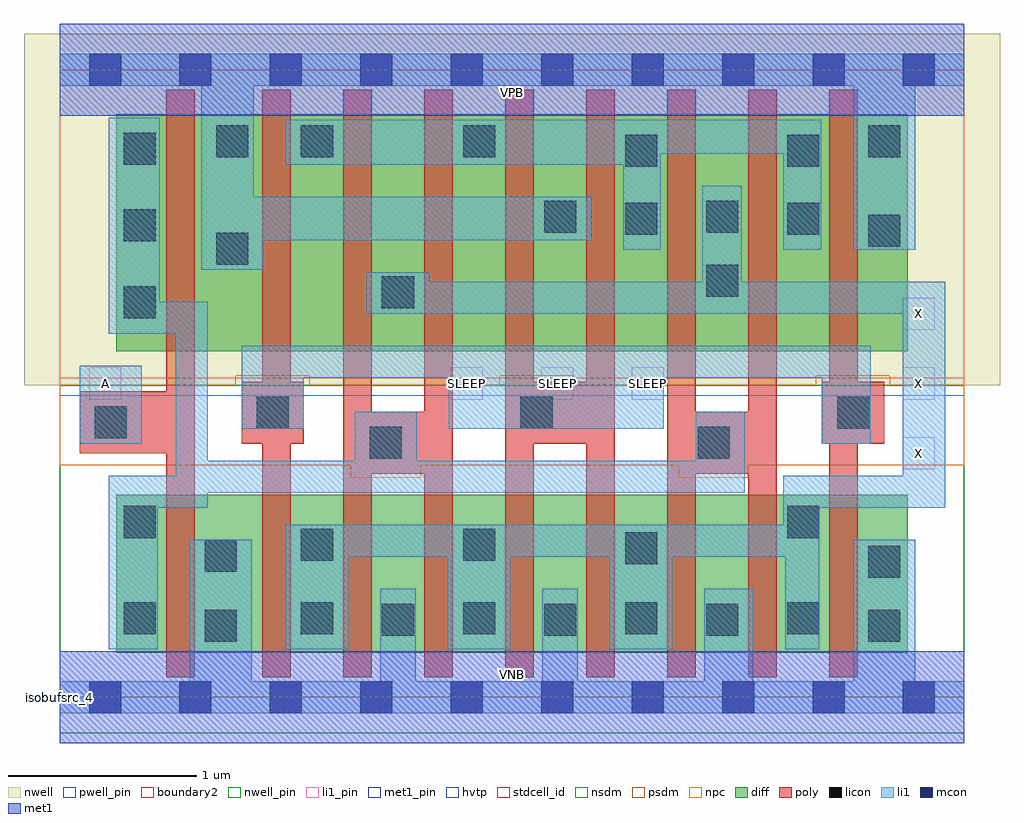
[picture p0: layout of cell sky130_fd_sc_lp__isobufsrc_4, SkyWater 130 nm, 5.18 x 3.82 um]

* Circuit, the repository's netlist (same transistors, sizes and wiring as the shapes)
* Copyright 2020 The SkyWater PDK Authors
*
* Licensed under the Apache License, Version 2.0 (the "License");
* you may not use this file except in compliance with the License.
* You may obtain a copy of the License at
*
*     https://www.apache.org/licenses/LICENSE-2.0
*
* Unless required by applicable law or agreed to in writing, software
* distributed under the License is distributed on an "AS IS" BASIS,
* WITHOUT WARRANTIES OR CONDITIONS OF ANY KIND, either express or implied.
* See the License for the specific language governing permissions and
* limitations under the License.
*
* SPDX-License-Identifier: Apache-2.0

.SUBCKT sky130_fd_sc_lp__isobufsrc_4 A SLEEP VGND VNB VPB VPWR X
*.PININFO A:I SLEEP:I VGND:I VNB:I VPB:I VPWR:I X:O
MMP0 VPWR SLEEP sndPA VPB sky130_fd_pr__pfet_01v8_hvt m=4 w=1.26U l=0.15U mult=1
+ sa=0.265 sb=0.265 sd=0.28 area=0.063 perim=1.14
MMP1 sndPA Ab X VPB sky130_fd_pr__pfet_01v8_hvt m=4 w=1.26U l=0.15U mult=1 sa=0.265
+ sb=0.265 sd=0.28 area=0.063 perim=1.14
MMIP1 Ab A VPWR VPB sky130_fd_pr__pfet_01v8_hvt m=1 w=1.26U l=0.15U mult=1 sa=0.265
+ sb=0.265 sd=0.28 area=0.063 perim=1.14
MMN0 X SLEEP VGND VNB sky130_fd_pr__nfet_01v8 m=4 w=0.84U l=0.15U mult=1 sa=0.265
+ sb=0.265 sd=0.28 area=0.063 perim=1.14
MMN1 X Ab VGND VNB sky130_fd_pr__nfet_01v8 m=4 w=0.84U l=0.15U mult=1 sa=0.265
+ sb=0.265 sd=0.28 area=0.063 perim=1.14
MMIN1 Ab A VGND VNB sky130_fd_pr__nfet_01v8 m=1 w=0.84U l=0.15U mult=1 sa=0.265
+ sb=0.265 sd=0.28 area=0.063 perim=1.14
.ENDS sky130_fd_sc_lp__isobufsrc_4

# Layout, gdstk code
import gdstk
lib = gdstk.Library(unit=1e-6, precision=1e-09)
def R(c, l, rs):  # rectangles x0, y0, x1, y1
    for r in rs: c.add(gdstk.rectangle(r[:2], r[2:], *l))
def A(c, l, x, y, w, h, nx, ny, dx, dy):  # array of equal rectangles
    R(c, l, [(x+i*dx, y+j*dy, x+i*dx+w, y+j*dy+h) for i in range(nx) for j in range(ny)])
def P(c, l, *ps):  # polygons
    for p in ps: c.add(gdstk.Polygon(p, *l))
nwell_pin = (64, 16)
nwell = (64, 20)
diff = (65, 20)
poly = (66, 20)
licon = (66, 44)
li1_pin = (67, 16)
li1 = (67, 20)
mcon = (67, 44)
met1_pin = (68, 16)
met1 = (68, 20)
hvtp = (78, 44)
stdcell_id = (81, 4)
nsdm = (93, 44)
psdm = (94, 20)
npc = (95, 20)
pwell_pin = (122, 16)
boundary2 = (236, 0)

sky130_fd_sc_lp__isobufs = lib.new_cell('sky130_fd_sc_lp__isobufsrc_4')
R(sky130_fd_sc_lp__isobufs, nwell_pin, [(0,3.085,4.8,3.33)])
R(sky130_fd_sc_lp__isobufs, nwell, [(-0.19,1.655,4.99,3.52)])
R(sky130_fd_sc_lp__isobufs, diff, [(0.3,0.235,4.5,1.075), (0.3,1.835,4.5,3.095)])
P(sky130_fd_sc_lp__isobufs, poly, [(0.715,3.225),(0.565,3.225),(0.565,1.625),(0.105,1.625),(0.105,1.295),(0.565,1.295),(0.565,0.105),(0.715,0.105)],
  [(1.295,1.675),(1.225,1.675),(1.225,3.225),(1.075,3.225),(1.075,1.675),(0.965,1.675),(0.965,1.345),(1.075,1.345),(1.075,0.105),(1.225,0.105),(1.225,1.345),(1.295,1.345)],
  [(2.085,3.225),(1.935,3.225),(1.935,1.515),(1.655,1.515),(1.655,3.225),(1.505,3.225),(1.505,0.105),(1.655,0.105),(1.655,1.185),(1.935,1.185),(1.935,0.105),(2.085,0.105)],
  [(2.945,3.225),(2.795,3.225),(2.795,1.675),(2.515,1.675),(2.515,3.225),(2.365,3.225),(2.365,0.105),(2.515,0.105),(2.515,1.345),(2.795,1.345),(2.795,0.105),(2.945,0.105)],
  [(3.805,3.225),(3.655,3.225),(3.655,1.515),(3.375,1.515),(3.375,3.225),(3.225,3.225),(3.225,0.105),(3.375,0.105),(3.375,1.185),(3.655,1.185),(3.655,0.105),(3.805,0.105)],
  [(4.375,1.675),(4.235,1.675),(4.235,3.225),(4.085,3.225),(4.085,1.675),(4.045,1.675),(4.045,1.345),(4.085,1.345),(4.085,0.105),(4.235,0.105),(4.235,1.345),(4.375,1.345)])
A(sky130_fd_sc_lp__isobufs, licon, 1.71, 0.325, 0.17, 0.17, 3, 1, 0.86, 0)
A(sky130_fd_sc_lp__isobufs, licon, 1.28, 0.335, 0.17, 0.17, 4, 1, 0.86, 0)
R(sky130_fd_sc_lp__isobufs, licon, [(0.77,0.295,0.94,0.465), (4.29,0.295,4.46,0.465), (0.34,0.335,0.51,0.505), (4.29,0.635,4.46,0.805), (0.77,0.665,0.94,0.835), (3,0.705,3.17,0.875), (1.28,0.725,1.45,0.895), (2.14,0.725,2.31,0.895), (0.34,0.845,0.51,1.015), (3.86,0.845,4.03,1.015), (1.645,1.265,1.815,1.435), (3.385,1.265,3.555,1.435), (0.185,1.375,0.355,1.545), (1.045,1.425,1.215,1.595), (2.445,1.425,2.615,1.595), (4.125,1.425,4.295,1.595), (0.34,2.01,0.51,2.18), (1.71,2.065,1.88,2.235), (3.43,2.125,3.6,2.295), (0.83,2.295,1,2.465), (4.29,2.39,4.46,2.56), (0.34,2.42,0.51,2.59), (3,2.455,3.17,2.625), (3.86,2.455,4.03,2.625), (2.57,2.465,2.74,2.635), (3.43,2.465,3.6,2.635), (3,2.815,3.17,2.985), (3.86,2.815,4.03,2.985), (0.34,2.825,0.51,2.995), (0.83,2.865,1,3.035), (1.28,2.865,1.45,3.035), (2.14,2.865,2.31,3.035), (4.29,2.865,4.46,3.035)])
A(sky130_fd_sc_lp__isobufs, li1_pin, 4.475, 1.21, 0.17, 0.17, 1, 3, 0, 0.37)
A(sky130_fd_sc_lp__isobufs, li1_pin, 2.075, 1.58, 0.17, 0.17, 3, 1, 0.48, 0)
R(sky130_fd_sc_lp__isobufs, li1_pin, [(0.155,1.58,0.325,1.75)])
R(sky130_fd_sc_lp__isobufs, li1, [(0.105,1.345,0.435,1.76)])
P(sky130_fd_sc_lp__isobufs, li1, [(4.8,3.415),(0,3.415),(0,3.245),(0.75,3.245),(0.75,2.27),(1.08,2.27),(1.08,2.425),(2.82,2.425),(2.82,2.655),(1.03,2.655),(1.03,3.245),(4.21,3.245),(4.21,2.375),(4.54,2.375),(4.54,3.245),(4.8,3.245)],
  [(2.56,0.085),(2.56,0.575),(2.75,0.575),(2.75,0.085),(3.42,0.085),(3.42,0.575),(3.68,0.575),(3.68,0.085),(4.21,0.085),(4.21,0.835),(4.54,0.835),(4.54,0.085),(4.8,0.085),(4.8,-0.085),(0,-0.085),(0,0.085),(0.69,0.085),(0.69,0.835),(1.02,0.835),(1.02,0.085),(1.7,0.085),(1.7,0.575),(1.89,0.575),(1.89,0.085)],
  [(0.615,1.175),(0.615,1.93),(0.26,1.93),(0.26,3.075),(0.53,3.075),(0.53,2.1),(0.785,2.1),(0.785,1.255),(1.565,1.255),(1.565,1.515),(1.895,1.515),(1.895,1.255),(3.375,1.255),(3.375,1.515),(3.635,1.515),(3.635,1.085),(0.785,1.085),(0.785,1.005),(0.52,1.005),(0.52,0.255),(0.26,0.255),(0.26,1.175)],
  [(0.965,1.865),(4.305,1.865),(4.305,1.345),(4.045,1.345),(4.045,1.695),(3.205,1.695),(3.205,1.425),(2.065,1.425),(2.065,1.695),(1.295,1.695),(1.295,1.425),(0.965,1.425)],
  [(3.84,2.885),(3.19,2.885),(3.19,2.375),(2.99,2.375),(2.99,2.825),(1.2,2.825),(1.2,3.065),(4.04,3.065),(4.04,2.375),(3.84,2.375)],
  [(1.96,2.205),(3.41,2.205),(3.41,2.715),(3.62,2.715),(3.62,2.205),(4.7,2.205),(4.7,1.005),(4.03,1.005),(4.03,0.255),(3.85,0.255),(3.85,0.745),(3.25,0.745),(3.25,0.255),(2.92,0.255),(2.92,0.745),(2.39,0.745),(2.39,0.255),(2.06,0.255),(2.06,0.745),(1.53,0.745),(1.53,0.255),(1.2,0.255),(1.2,0.915),(3.84,0.915),(3.84,1.175),(4.475,1.175),(4.475,2.035),(1.63,2.035),(1.63,2.255),(1.96,2.255)])
A(sky130_fd_sc_lp__isobufs, mcon, 0.155, -0.085, 0.17, 0.17, 10, 2, 0.48, 3.33)
R(sky130_fd_sc_lp__isobufs, met1_pin, [(0,0,4.8,0.245), (0,3.085,4.8,3.33)])
R(sky130_fd_sc_lp__isobufs, met1, [(0,-0.245,4.8,0.245), (0,3.085,4.8,3.575)])
R(sky130_fd_sc_lp__isobufs, hvtp, [(0,1.6,4.8,3.33)])
R(sky130_fd_sc_lp__isobufs, stdcell_id, [(0,0,4.8,3.33)])
R(sky130_fd_sc_lp__isobufs, nsdm, [(0,-0.19,4.8,1.655)])
P(sky130_fd_sc_lp__isobufs, psdm, [(4.8,3.52),(0,3.52),(0,1.655),(0.935,1.655),(0.935,1.705),(1.325,1.705),(1.325,1.655),(2.335,1.655),(2.335,1.705),(2.725,1.705),(2.725,1.655),(4.015,1.655),(4.015,1.705),(4.405,1.705),(4.405,1.655),(4.8,1.655)])
P(sky130_fd_sc_lp__isobufs, npc, [(4.8,1.695),(0,1.695),(0,1.23),(1.545,1.23),(1.545,1.165),(1.915,1.165),(1.915,1.23),(3.285,1.23),(3.285,1.165),(3.655,1.165),(3.655,1.23),(4.8,1.23)])
R(sky130_fd_sc_lp__isobufs, pwell_pin, [(0,0,4.8,0.245)])
R(sky130_fd_sc_lp__isobufs, boundary2, [(0,0,4.8,3.33)])
sky130_fd_sc_lp__isobufs.add(gdstk.Label('VNB', (2.4,0.123), layer=64, texttype=59))
sky130_fd_sc_lp__isobufs.add(gdstk.Label('VPB', (2.4,3.208), layer=64, texttype=5))
sky130_fd_sc_lp__isobufs.add(gdstk.Label('isobufsrc_4', (0,0), layer=83, texttype=44))
sky130_fd_sc_lp__isobufs.add(gdstk.Label('VPWR', (2.4,3.208), layer=68, texttype=5))
sky130_fd_sc_lp__isobufs.add(gdstk.Label('VGND', (2.4,0.123), layer=68, texttype=5))
sky130_fd_sc_lp__isobufs.add(gdstk.Label('A', (0.24,1.665), layer=67, texttype=5))
sky130_fd_sc_lp__isobufs.add(gdstk.Label('SLEEP', (2.16,1.665), layer=67, texttype=5))
sky130_fd_sc_lp__isobufs.add(gdstk.Label('SLEEP', (2.64,1.665), layer=67, texttype=5))
sky130_fd_sc_lp__isobufs.add(gdstk.Label('SLEEP', (3.12,1.665), layer=67, texttype=5))
sky130_fd_sc_lp__isobufs.add(gdstk.Label('X', (4.56,1.295), layer=67, texttype=5))
sky130_fd_sc_lp__isobufs.add(gdstk.Label('X', (4.56,1.665), layer=67, texttype=5))
sky130_fd_sc_lp__isobufs.add(gdstk.Label('X', (4.56,2.035), layer=67, texttype=5))

lib.write_gds('sky130_fd_sc_lp__isobufsrc_4.gds')
